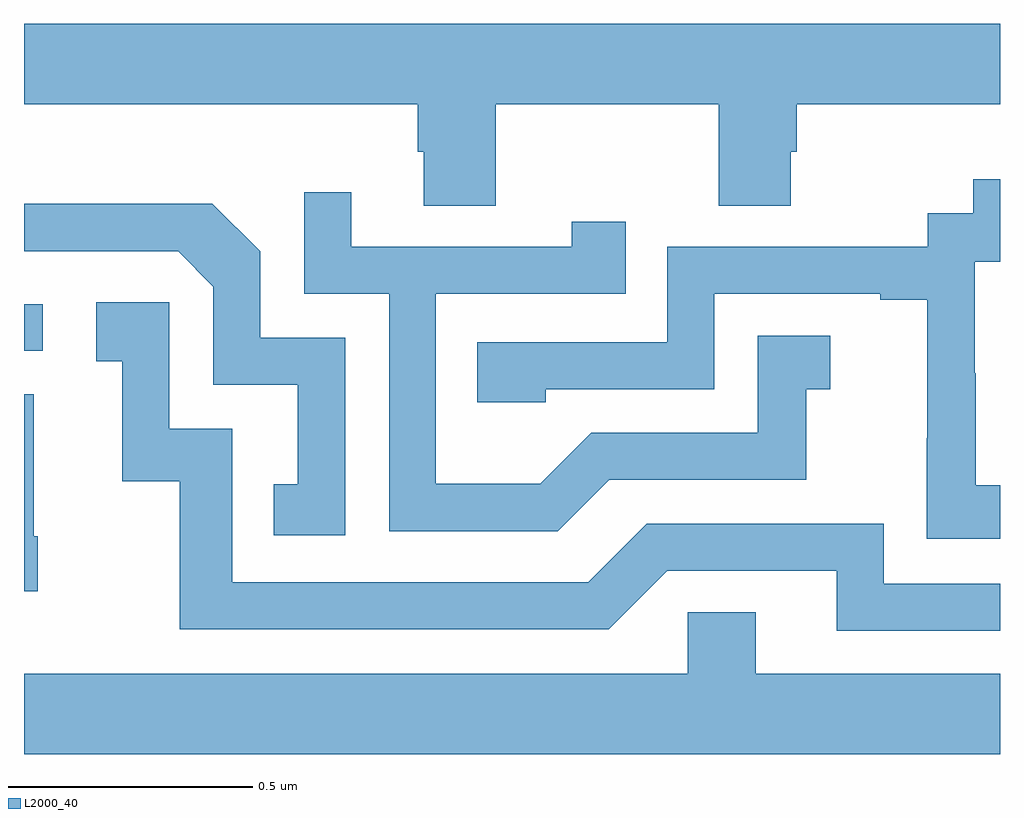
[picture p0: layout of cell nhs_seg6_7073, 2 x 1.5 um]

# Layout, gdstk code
import gdstk
lib = gdstk.Library(unit=1e-6, precision=1e-09)
def R(c, l, rs):  # rectangles x0, y0, x1, y1
    for r in rs: c.add(gdstk.rectangle(r[:2], r[2:], *l))
def P(c, l, *ps):  # polygons
    for p in ps: c.add(gdstk.Polygon(p, *l))
L2000_40 = (2000, 40)

nhs_seg6_7073 = lib.new_cell('nhs_seg6_7073')
R(nhs_seg6_7073, L2000_40, [(203,993.45,203.038,993.546)])
P(nhs_seg6_7073, L2000_40, [(203.967,993.956),(204.424,993.956),(204.424,993.748),(204.571,993.748),(204.571,993.858),(204.584,993.858),(204.584,993.956),(205,993.956),(205,994.12),(203,994.12),(203,993.956),(203.807,993.956),(203.807,993.858),(203.819,993.858),(203.819,993.748),(203.967,993.748)],
  [(205,993.175),(204.95,993.175),(204.95,993.404),(204.948,993.404),(204.948,993.633),(205,993.633),(205,993.802),(204.945,993.802),(204.945,993.732),(204.852,993.732),(204.852,993.663),(204.318,993.663),(204.318,993.468),(203.929,993.468),(203.929,993.345),(204.069,993.345),(204.069,993.372),(204.414,993.372),(204.414,993.567),(204.755,993.567),(204.755,993.555),(204.851,993.555),(204.851,993.271),(204.85,993.271),(204.85,993.065),(205,993.065)],
  [(204.199,993.186),(204.603,993.186),(204.603,993.371),(204.652,993.371),(204.652,993.481),(204.504,993.481),(204.504,993.282),(204.162,993.282),(204.058,993.178),(203.844,993.178),(203.844,993.567),(204.233,993.567),(204.233,993.715),(204.122,993.715),(204.122,993.663),(203.671,993.663),(203.671,993.775),(203.574,993.775),(203.574,993.567),(203.748,993.567),(203.748,993.081),(204.094,993.081)],
  [(203.658,993.477),(203.484,993.477),(203.484,993.654),(203.386,993.752),(203,993.752),(203,993.654),(203.316,993.654),(203.388,993.582),(203.388,993.381),(203.561,993.381),(203.561,993.177),(203.512,993.177),(203.512,993.072),(203.658,993.072)],
  [(205,992.973),(204.762,992.973),(204.762,993.096),(204.276,993.096),(204.156,992.976),(203.427,992.976),(203.427,993.291),(203.298,993.291),(203.298,993.55),(203.148,993.55),(203.148,993.429),(203.201,993.429),(203.201,993.183),(203.319,993.183),(203.319,992.88),(204.198,992.88),(204.318,993),(204.665,993),(204.665,992.877),(205,992.877)],
  [(203.028,993.07),(203.02,993.07),(203.02,993.361),(203,993.361),(203,992.958),(203.028,992.958)],
  [(205,992.788),(204.499,992.788),(204.499,992.915),(204.36,992.915),(204.36,992.788),(203,992.788),(203,992.624),(205,992.624)])

lib.write_gds('nhs_seg6_7073.gds')
